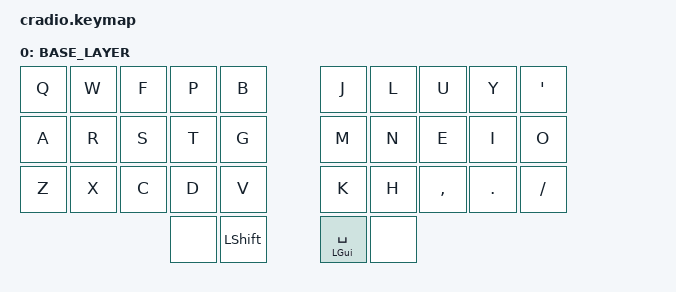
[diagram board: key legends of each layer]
// Copyright (c) 2022 The ZMK Contributors
// SPDX-License-Identifier: MIT

#include <behaviors.dtsi>
#include <dt-bindings/zmk/keys.h>
#include <dt-bindings/zmk/bt.h>


// Layer definitions
#define BASE 0
#define EXT 1
#define SYM 2
#define FUNC 3
#define NUM 4
#define BLE 5


/ {

    keymap {
        compatible = "zmk,keymap";
        BASE_LAYER {
            bindings = <
        //╭──────────┬──────────┬──────────┬──────────┬──────────╮   ╭──────────┬──────────┬──────────┬──────────┬──────────╮
        //│  Q       │  W       │  F       │  P       │  B       │   │  J       │  L       │  U       │  Y       │  '       │
            &kp Q      &kp W      &kp F      &kp P      &kp B          &kp J      &kp L      &kp U      &kp Y      &kp APOS
        //├──────────┼──────────┼──────────┼──────────┼──────────┤   ├──────────┼──────────┼──────────┼──────────┼──────────┤
        //│  A       │  R       │  S       │  T       │  G       │   │  M       │  N       │  E       │  I       │  O       │
            &kp A      &kp R      &kp S      &kp T      &kp G          &kp M      &kp N      &kp E      &kp I      &kp O
        //├──────────┼──────────┼──────────┼──────────┼──────────┤   ├──────────┼──────────┼──────────┼──────────┼──────────┤
        //│  Z       │  X       │  C       │  D       │  V       │   │  K       │  H       │ , <      │ . >      │ / ?      │
            &kp Z      &kp X      &kp C      &kp D      &kp V          &kp K      &kp H      &kp COMMA  &kp DOT    &kp FSLH
        //╰──────────┴──────────┴──────────┼──────────┼──────────┤   ├──────────┼──────────┼──────────┴──────────┴──────────╯
                                            &none  &kp LEFT_SHIFT   &mt LEFT_GUI SPACE &none
        //                                 ╰──────────┴──────────╯   ╰──────────┴──────────╯
            >;
        };
     };
};
